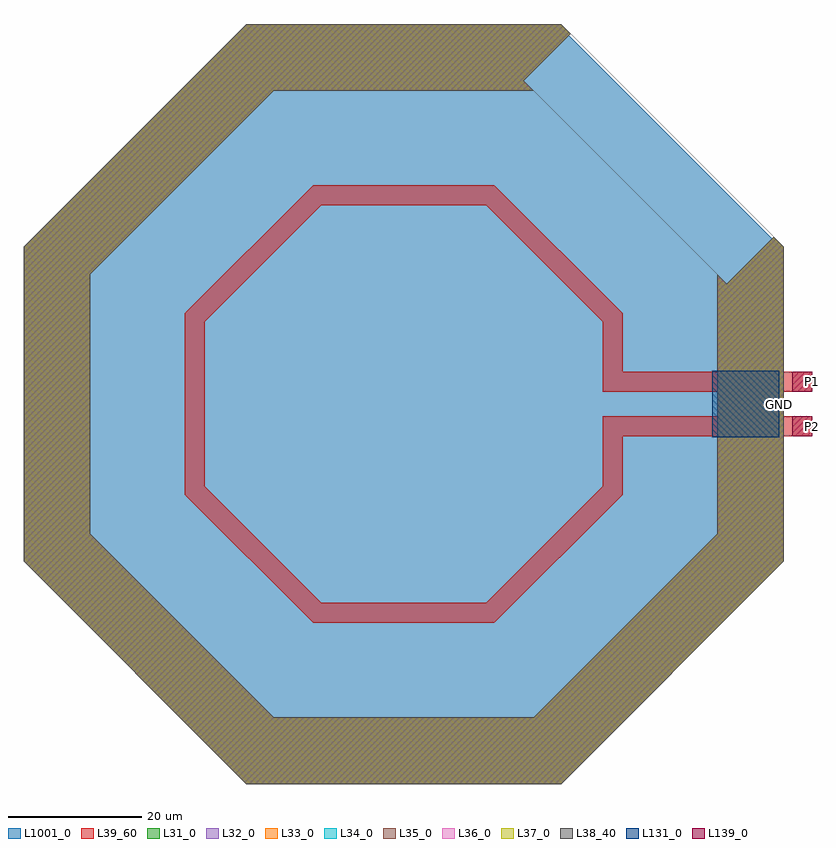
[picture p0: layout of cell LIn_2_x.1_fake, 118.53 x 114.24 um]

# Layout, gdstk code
import gdstk
lib = gdstk.Library(unit=1e-6, precision=1e-09)
def R(c, l, rs):  # rectangles x0, y0, x1, y1
    for r in rs: c.add(gdstk.rectangle(r[:2], r[2:], *l))
def P(c, l, *ps):  # polygons
    for p in ps: c.add(gdstk.Polygon(p, *l))
L31_0 = (31, 0)
L32_0 = (32, 0)
L33_0 = (33, 0)
L34_0 = (34, 0)
L35_0 = (35, 0)
L36_0 = (36, 0)
L37_0 = (37, 0)
L38_40 = (38, 40)
L39_60 = (39, 60)
L131_0 = (131, 0)
L139_0 = (139, 0)
L1001_0 = (1001, 0)

lin_2_x_1_fake = lib.new_cell('LIn_2_x.1_fake')
P(lin_2_x_1_fake, L31_0, [(48.582,18.052),(55.653,25.123),(23.659,57.118),(-23.659,57.118),(-57.118,23.659),(-57.118,-23.659),(-23.659,-57.118),(23.659,-57.118),(57.118,-23.659),(57.118,23.659),(25.123,55.653),(18.052,48.582),(47.118,19.517),(47.118,-19.517),(19.517,-47.118),(-19.517,-47.118),(-47.118,-19.517),(-47.118,19.517),(-19.517,47.118),(19.517,47.118)])
P(lin_2_x_1_fake, L32_0, [(48.582,18.052),(55.653,25.123),(23.659,57.118),(-23.659,57.118),(-57.118,23.659),(-57.118,-23.659),(-23.659,-57.118),(23.659,-57.118),(57.118,-23.659),(57.118,23.659),(25.123,55.653),(18.052,48.582),(47.118,19.517),(47.118,-19.517),(19.517,-47.118),(-19.517,-47.118),(-47.118,-19.517),(-47.118,19.517),(-19.517,47.118),(19.517,47.118)])
P(lin_2_x_1_fake, L33_0, [(48.582,18.052),(55.653,25.123),(23.659,57.118),(-23.659,57.118),(-57.118,23.659),(-57.118,-23.659),(-23.659,-57.118),(23.659,-57.118),(57.118,-23.659),(57.118,23.659),(25.123,55.653),(18.052,48.582),(47.118,19.517),(47.118,-19.517),(19.517,-47.118),(-19.517,-47.118),(-47.118,-19.517),(-47.118,19.517),(-19.517,47.118),(19.517,47.118)])
P(lin_2_x_1_fake, L34_0, [(48.582,18.052),(55.653,25.123),(23.659,57.118),(-23.659,57.118),(-57.118,23.659),(-57.118,-23.659),(-23.659,-57.118),(23.659,-57.118),(57.118,-23.659),(57.118,23.659),(25.123,55.653),(18.052,48.582),(47.118,19.517),(47.118,-19.517),(19.517,-47.118),(-19.517,-47.118),(-47.118,-19.517),(-47.118,19.517),(-19.517,47.118),(19.517,47.118)])
P(lin_2_x_1_fake, L35_0, [(48.582,18.052),(55.653,25.123),(23.659,57.118),(-23.659,57.118),(-57.118,23.659),(-57.118,-23.659),(-23.659,-57.118),(23.659,-57.118),(57.118,-23.659),(57.118,23.659),(25.123,55.653),(18.052,48.582),(47.118,19.517),(47.118,-19.517),(19.517,-47.118),(-19.517,-47.118),(-47.118,-19.517),(-47.118,19.517),(-19.517,47.118),(19.517,47.118)])
P(lin_2_x_1_fake, L36_0, [(48.582,18.052),(55.653,25.123),(23.659,57.118),(-23.659,57.118),(-57.118,23.659),(-57.118,-23.659),(-23.659,-57.118),(23.659,-57.118),(57.118,-23.659),(57.118,23.659),(25.123,55.653),(18.052,48.582),(47.118,19.517),(47.118,-19.517),(19.517,-47.118),(-19.517,-47.118),(-47.118,-19.517),(-47.118,19.517),(-19.517,47.118),(19.517,47.118)])
P(lin_2_x_1_fake, L37_0, [(48.582,18.052),(55.653,25.123),(23.659,57.118),(-23.659,57.118),(-57.118,23.659),(-57.118,-23.659),(-23.659,-57.118),(23.659,-57.118),(57.118,-23.659),(57.118,23.659),(25.123,55.653),(18.052,48.582),(47.118,19.517),(47.118,-19.517),(19.517,-47.118),(-19.517,-47.118),(-47.118,-19.517),(-47.118,19.517),(-19.517,47.118),(19.517,47.118)])
P(lin_2_x_1_fake, L38_40, [(48.582,18.052),(55.653,25.123),(23.659,57.118),(-23.659,57.118),(-57.118,23.659),(-57.118,-23.659),(-23.659,-57.118),(23.659,-57.118),(57.118,-23.659),(57.118,23.659),(25.123,55.653),(18.052,48.582),(47.118,19.517),(47.118,-19.517),(19.517,-47.118),(-19.517,-47.118),(-47.118,-19.517),(-47.118,19.517),(-19.517,47.118),(19.517,47.118)])
R(lin_2_x_1_fake, L39_60, [(29.91,-4.81,61.41,-1.81), (29.91,1.81,61.41,4.81)])
P(lin_2_x_1_fake, L39_60, [(29.91,3.31),(32.91,3.31),(32.91,13.631),(13.631,32.91),(-13.631,32.91),(-32.91,13.631),(-32.91,-13.631),(-13.631,-32.91),(13.631,-32.91),(32.91,-13.631),(32.91,-3.31),(29.91,-3.31),(29.91,-12.389),(12.389,-29.91),(-12.389,-29.91),(-29.91,-12.389),(-29.91,12.389),(-12.389,29.91),(12.389,29.91),(29.91,12.389)],
  [(48.582,18.052),(55.653,25.123),(23.659,57.118),(-23.659,57.118),(-57.118,23.659),(-57.118,-23.659),(-23.659,-57.118),(23.659,-57.118),(57.118,-23.659),(57.118,23.659),(25.123,55.653),(18.052,48.582),(47.118,19.517),(47.118,-19.517),(19.517,-47.118),(-19.517,-47.118),(-47.118,-19.517),(-47.118,19.517),(-19.517,47.118),(19.517,47.118)])
R(lin_2_x_1_fake, L131_0, [(46.41,-5,56.41,5)])
R(lin_2_x_1_fake, L139_0, [(58.41,-4.81,61.41,-1.81), (58.41,1.81,61.41,4.81)])
P(lin_2_x_1_fake, L1001_0, [(56.737,23.501),(23.501,56.737),(-23.501,56.737),(-56.737,23.501),(-56.737,-23.501),(-23.501,-56.737),(23.501,-56.737),(56.737,-23.501)],
  [(56.737,23.501),(23.501,56.737),(-23.501,56.737),(-56.737,23.501),(-56.737,-23.501),(-23.501,-56.737),(23.501,-56.737),(56.737,-23.501)],
  [(56.737,23.501),(23.501,56.737),(-23.501,56.737),(-56.737,23.501),(-56.737,-23.501),(-23.501,-56.737),(23.501,-56.737),(56.737,-23.501)],
  [(56.737,23.501),(23.501,56.737),(-23.501,56.737),(-56.737,23.501),(-56.737,-23.501),(-23.501,-56.737),(23.501,-56.737),(56.737,-23.501)],
  [(56.737,23.501),(23.501,56.737),(-23.501,56.737),(-56.737,23.501),(-56.737,-23.501),(-23.501,-56.737),(23.501,-56.737),(56.737,-23.501)],
  [(56.737,23.501),(23.501,56.737),(-23.501,56.737),(-56.737,23.501),(-56.737,-23.501),(-23.501,-56.737),(23.501,-56.737),(56.737,-23.501)],
  [(56.737,23.501),(23.501,56.737),(-23.501,56.737),(-56.737,23.501),(-56.737,-23.501),(-23.501,-56.737),(23.501,-56.737),(56.737,-23.501)],
  [(56.737,23.501),(23.501,56.737),(-23.501,56.737),(-56.737,23.501),(-56.737,-23.501),(-23.501,-56.737),(23.501,-56.737),(56.737,-23.501)],
  [(56.737,23.501),(23.501,56.737),(-23.501,56.737),(-56.737,23.501),(-56.737,-23.501),(-23.501,-56.737),(23.501,-56.737),(56.737,-23.501)])
lin_2_x_1_fake.add(gdstk.Label('P1', (61.412,3.312), layer=139, texttype=0))
lin_2_x_1_fake.add(gdstk.Label('P2', (61.412,-3.312), layer=139, texttype=0))
lin_2_x_1_fake.add(gdstk.Label('GND', (56.412,0), layer=131, texttype=0))

lib.write_gds('LIn_2_x.1_fake.gds')
